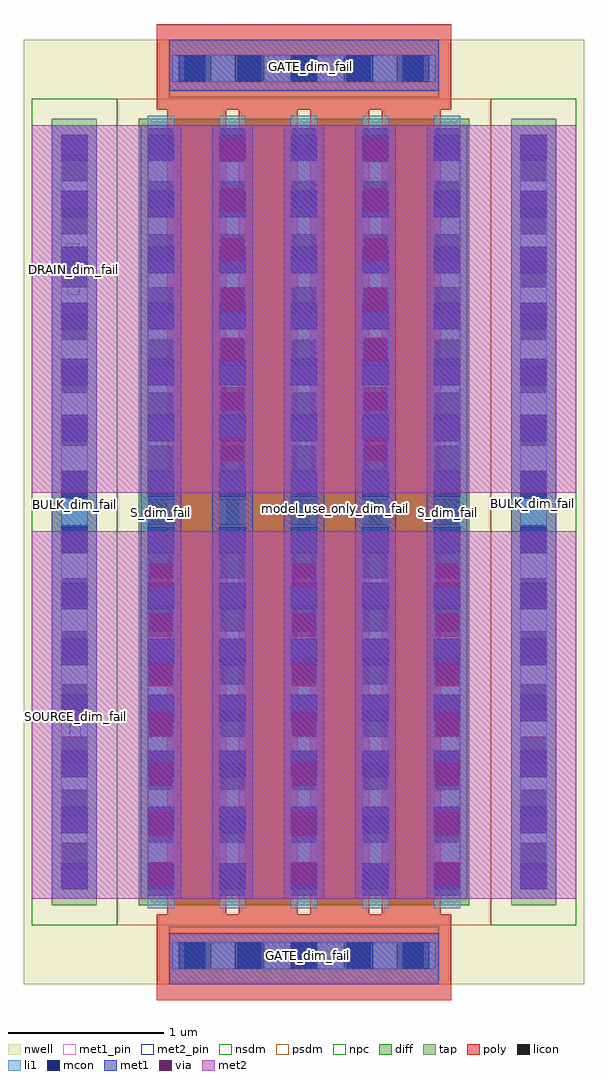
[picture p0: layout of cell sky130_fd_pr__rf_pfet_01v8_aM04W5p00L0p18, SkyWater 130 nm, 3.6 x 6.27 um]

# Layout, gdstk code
import gdstk
lib = gdstk.Library(unit=1e-6, precision=1e-09)
def R(c, l, rs):  # rectangles x0, y0, x1, y1
    for r in rs: c.add(gdstk.rectangle(r[:2], r[2:], *l))
def A(c, l, x, y, w, h, nx, ny, dx, dy):  # array of equal rectangles
    R(c, l, [(x+i*dx, y+j*dy, x+i*dx+w, y+j*dy+h) for i in range(nx) for j in range(ny)])
def P(c, l, *ps):  # polygons
    for p in ps: c.add(gdstk.Polygon(p, *l))
nwell = (64, 20)
diff = (65, 20)
tap = (65, 44)
poly = (66, 20)
licon = (66, 44)
li1 = (67, 20)
mcon = (67, 44)
met1_pin = (68, 16)
met1 = (68, 20)
via = (68, 44)
met2_pin = (69, 16)
met2 = (69, 20)
nsdm = (93, 44)
psdm = (94, 20)
npc = (95, 20)

sky130_fd_pr__rf_pfet_01 = lib.new_cell('sky130_fd_pr__rf_pfet_01v8_aM04W5p00L0p18')
R(sky130_fd_pr__rf_pfet_01, nwell, [(0,0,3.6,6.07)])
R(sky130_fd_pr__rf_pfet_01, diff, [(0.74,0.51,2.86,5.56)])
R(sky130_fd_pr__rf_pfet_01, tap, [(0.18,0.51,0.47,5.56), (3.13,0.51,3.42,5.56)])
P(sky130_fd_pr__rf_pfet_01, poly, [(0.855,-0.1),(0.855,0.45),(0.92,0.45),(0.92,5.62),(1.3,5.62),(1.3,0.45),(1.38,0.45),(1.38,5.62),(1.76,5.62),(1.76,0.45),(1.84,0.45),(1.84,5.62),(2.22,5.62),(2.22,0.45),(2.3,0.45),(2.3,5.62),(0.855,5.62),(0.855,6.17),(2.745,6.17),(2.745,5.62),(2.68,5.62),(2.68,0.45),(2.745,0.45),(2.745,-0.1)])
A(sky130_fd_pr__rf_pfet_01, licon, 1.035, 0.1, 0.17, 0.17, 5, 2, 0.34, 5.7)
A(sky130_fd_pr__rf_pfet_01, licon, 0.795, 0.57, 0.17, 0.17, 5, 15, 0.46, 0.34)
A(sky130_fd_pr__rf_pfet_01, licon, 0.24, 0.74, 0.17, 0.17, 1, 14, 0, 0.34)
A(sky130_fd_pr__rf_pfet_01, licon, 3.19, 0.74, 0.17, 0.17, 1, 14, 0, 0.34)
A(sky130_fd_pr__rf_pfet_01, li1, 0.795, 0.49, 0.17, 5.09, 5, 1, 0.46, 0)
A(sky130_fd_pr__rf_pfet_01, li1, 0.795, 1.69, 0.17, 2.69, 5, 1, 0.46, 0)
R(sky130_fd_pr__rf_pfet_01, li1, [(0.955,0.1,2.645,0.27), (0.995,0.1,2.605,0.27), (0.24,0.61,0.41,5.46), (3.19,0.61,3.36,5.46), (0.24,0.66,0.41,5.41), (3.19,0.66,3.36,5.41), (0.24,1.68,0.41,4.39), (3.19,1.68,3.36,4.39), (0.955,5.8,2.645,5.97), (0.995,5.8,2.605,5.97)])
A(sky130_fd_pr__rf_pfet_01, mcon, 0.995, 0.1, 0.17, 0.17, 5, 2, 0.36, 5.7)
A(sky130_fd_pr__rf_pfet_01, mcon, 0.24, 0.61, 0.17, 0.17, 1, 14, 0, 0.36)
A(sky130_fd_pr__rf_pfet_01, mcon, 0.795, 0.61, 0.17, 0.17, 5, 14, 0.46, 0.36)
A(sky130_fd_pr__rf_pfet_01, mcon, 3.19, 0.61, 0.17, 0.17, 1, 14, 0, 0.36)
R(sky130_fd_pr__rf_pfet_01, met1_pin, [(1.675,0.12,1.965,0.245), (0.24,3.05,0.41,3.105), (3.18,3.06,3.35,3.115), (1.695,5.835,1.985,5.96)])
A(sky130_fd_pr__rf_pfet_01, met1, 0.75, 0.55, 0.26, 2.24, 3, 1, 0.92, 0)
A(sky130_fd_pr__rf_pfet_01, met1, 0.75, 0.55, 0.26, 4.97, 5, 1, 0.46, 0)
R(sky130_fd_pr__rf_pfet_01, met1, [(0.935,0,2.665,0.33), (0.18,0.55,0.47,5.52), (3.13,0.55,3.42,5.52), (1.21,3.28,1.47,5.52), (2.13,3.28,2.39,5.52), (0.935,5.74,2.665,6.07)])
A(sky130_fd_pr__rf_pfet_01, via, 0.805, 0.635, 0.15, 0.15, 3, 7, 0.92, 0.32)
A(sky130_fd_pr__rf_pfet_01, via, 1.265, 3.365, 0.15, 0.15, 1, 7, 0, 0.32)
A(sky130_fd_pr__rf_pfet_01, via, 2.185, 3.365, 0.15, 0.15, 1, 7, 0, 0.32)
R(sky130_fd_pr__rf_pfet_01, met2_pin, [(0.295,1.56,0.365,1.875), (0.28,4.43,0.355,4.76)])
A(sky130_fd_pr__rf_pfet_01, met2, 0.75, 0.55, 0.26, 2.24, 3, 1, 0.92, 0)
R(sky130_fd_pr__rf_pfet_01, met2, [(0.05,0.55,3.55,2.91), (0.05,3.16,3.55,5.52), (1.21,3.28,1.47,5.52), (2.13,3.28,2.39,5.52)])
R(sky130_fd_pr__rf_pfet_01, nsdm, [(0.05,0.38,0.6,5.69), (3,0.38,3.55,5.69)])
R(sky130_fd_pr__rf_pfet_01, psdm, [(0.6,0.38,3,5.69)])
R(sky130_fd_pr__rf_pfet_01, npc, [(0.935,0,2.665,0.37), (0.935,5.7,2.665,6.07)])
sky130_fd_pr__rf_pfet_01.add(gdstk.Label('model_use_only_dim_fail', (2,3.06), layer=66, texttype=83))
sky130_fd_pr__rf_pfet_01.add(gdstk.Label('model_use_only_dim_fail', (2.465,3.06), layer=66, texttype=83))
sky130_fd_pr__rf_pfet_01.add(gdstk.Label('model_use_only_dim_fail', (1.085,3.06), layer=66, texttype=83))
sky130_fd_pr__rf_pfet_01.add(gdstk.Label('model_use_only_dim_fail', (1.545,3.06), layer=66, texttype=83))
sky130_fd_pr__rf_pfet_01.add(gdstk.Label('S_dim_fail', (0.88,3.035), layer=83, texttype=44))
sky130_fd_pr__rf_pfet_01.add(gdstk.Label('S_dim_fail', (0.88,3.035), layer=83, texttype=44))
sky130_fd_pr__rf_pfet_01.add(gdstk.Label('S_dim_fail', (1.34,3.035), layer=83, texttype=44))
sky130_fd_pr__rf_pfet_01.add(gdstk.Label('D_dim_fail', (1.34,3.035), layer=83, texttype=44))
sky130_fd_pr__rf_pfet_01.add(gdstk.Label('S_dim_fail', (1.8,3.035), layer=83, texttype=44))
sky130_fd_pr__rf_pfet_01.add(gdstk.Label('S_dim_fail', (1.8,3.035), layer=83, texttype=44))
sky130_fd_pr__rf_pfet_01.add(gdstk.Label('S_dim_fail', (2.26,3.035), layer=83, texttype=44))
sky130_fd_pr__rf_pfet_01.add(gdstk.Label('D_dim_fail', (2.26,3.035), layer=83, texttype=44))
sky130_fd_pr__rf_pfet_01.add(gdstk.Label('S_dim_fail', (2.72,3.035), layer=83, texttype=44))
sky130_fd_pr__rf_pfet_01.add(gdstk.Label('BULK_dim_fail', (0.325,3.08), layer=68, texttype=5))
sky130_fd_pr__rf_pfet_01.add(gdstk.Label('GATE_dim_fail', (1.84,5.9), layer=68, texttype=5))
sky130_fd_pr__rf_pfet_01.add(gdstk.Label('GATE_dim_fail', (1.82,0.185), layer=68, texttype=5))
sky130_fd_pr__rf_pfet_01.add(gdstk.Label('BULK_dim_fail', (3.265,3.09), layer=68, texttype=5))
sky130_fd_pr__rf_pfet_01.add(gdstk.Label('DRAIN_dim_fail', (0.32,4.595), layer=69, texttype=5))
sky130_fd_pr__rf_pfet_01.add(gdstk.Label('SOURCE_dim_fail', (0.33,1.72), layer=69, texttype=5))

lib.write_gds('sky130_fd_pr__rf_pfet_01v8_aM04W5p00L0p18.gds')
